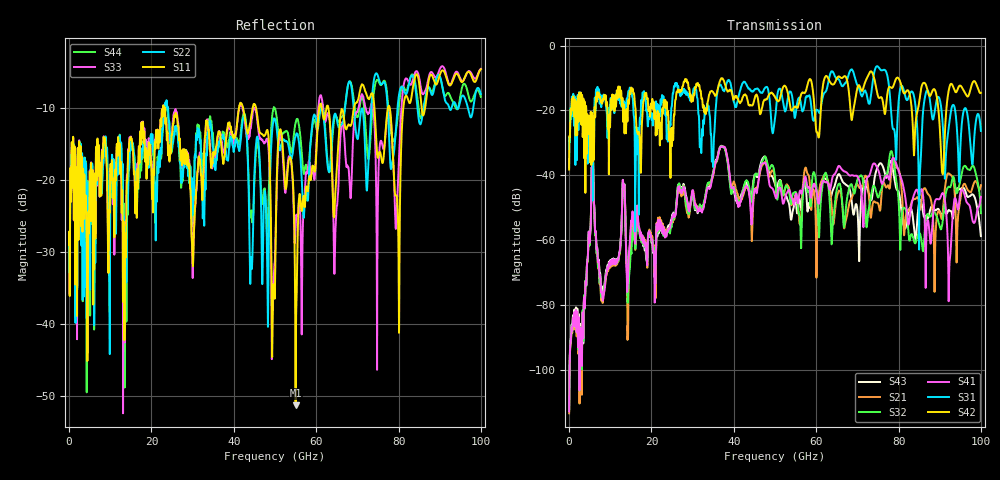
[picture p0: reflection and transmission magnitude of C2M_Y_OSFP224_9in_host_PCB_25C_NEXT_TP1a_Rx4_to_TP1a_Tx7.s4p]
# GHz S RI R 45
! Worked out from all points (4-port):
!   4000 points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, 25 MHz to 100 GHz, reference 45 ohm
!   strongest paths, dB at 25 MHz, 25.02 GHz, 50.02 GHz, 75.03 GHz, 100 GHz:
!     S42: -38.2, -30.2, -15.9, -15.6, -14.6
!     S31: -37.6, -17.7, -22.3, -6.5, -26.3
!     S41: -112.7, -52.9, -46.2, -38.2, -46.6
!     S32: -112.4, -53.7, -40.6, -46.8, -51.6
!     S21: -113.2, -53.9, -41.4, -48.6, -43.0
!     S43: -111.9, -52.3, -42.7, -37.2, -58.7
!   lowest |S11| = -51.3 dB at 55.02 GHz (marker M1), VSWR 1.01, Z = 44.9 + j0.195 ohm
!   |S11| at or under -10 dB: start of sweep to 22.85 GHz; 23.26 GHz to 41.25 GHz (18 GHz wide, 55.8 % of centre); 45.44 GHz to 60.74 GHz (15.29 GHz wide, 28.8 % of centre) (the widest 3 of 10)
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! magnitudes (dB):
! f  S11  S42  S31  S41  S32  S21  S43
! 25 MHz  -29.0  -38.2  -37.6  -112.7  -112.4  -113.2  -111.9
! 5.775 GHz  -22.1  -32.6  -34.6  -33.1  -33.3  -33.3  -33.1
! 8.15 GHz  -16.8  -16.9  -17.1  -78.4  -77.5  -79.3  -76.7
! 13.22 GHz  -26.0  -20.0  -17.0  -43.1  -43.3  -43.4  -43.0
! 37.02 GHz  -15.5  -10.1  -12.6  -31.1  -31.0  -31.1  -30.9
! 55.02 GHz  -51.3  -18.8  -21.2  -45.9  -45.1  -45.6  -47.5
! 100 GHz  -4.7  -14.6  -26.3  -46.6  -51.6  -43.0  -58.7
